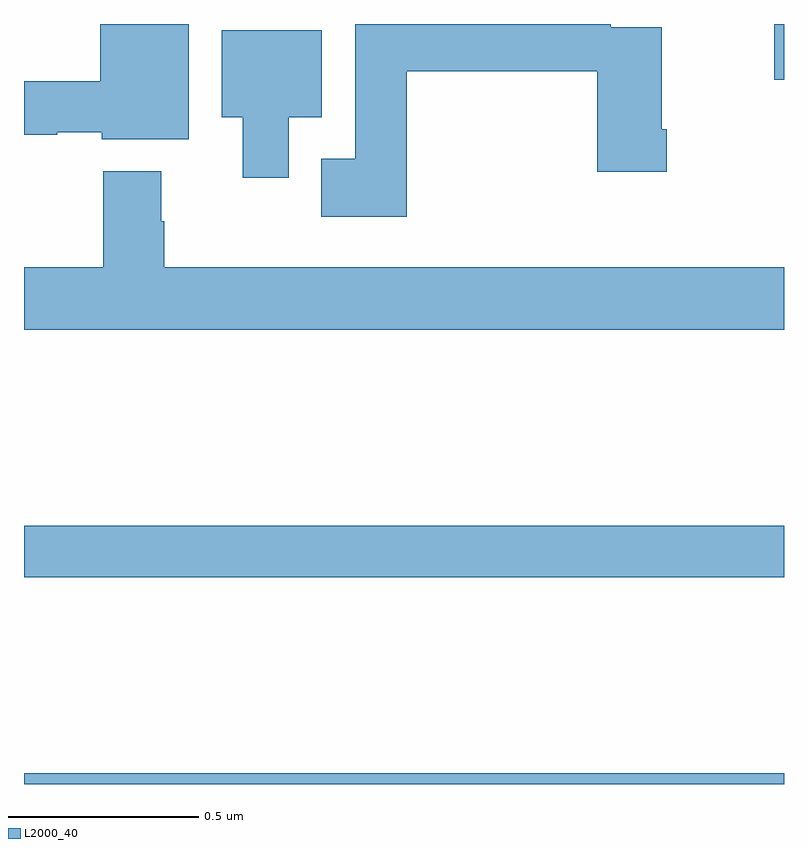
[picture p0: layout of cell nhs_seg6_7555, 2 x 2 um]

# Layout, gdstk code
import gdstk
lib = gdstk.Library(unit=1e-6, precision=1e-09)
def R(c, l, rs):  # rectangles x0, y0, x1, y1
    for r in rs: c.add(gdstk.rectangle(r[:2], r[2:], *l))
def P(c, l, *ps):  # polygons
    for p in ps: c.add(gdstk.Polygon(p, *l))
L2000_40 = (2000, 40)

nhs_seg6_7555 = lib.new_cell('nhs_seg6_7555')
R(nhs_seg6_7555, L2000_40, [(210,919.5,212,919.528), (210,920.044,212,920.18), (211.974,921.353,212,921.5)])
P(nhs_seg6_7555, L2000_40, [(211.007,921.376),(211.508,921.376),(211.508,921.111),(211.691,921.111),(211.691,921.223),(211.678,921.223),(211.678,921.492),(211.544,921.492),(211.544,921.5),(210.872,921.5),(210.872,921.145),(210.782,921.145),(210.782,920.993),(211.007,920.993)],
  [(210.433,921.5),(210.2,921.5),(210.2,921.35),(210,921.35),(210,921.208),(210.087,921.208),(210.087,921.215),(210.204,921.215),(210.204,921.197),(210.433,921.197)],
  [(210.697,921.254),(210.784,921.254),(210.784,921.484),(210.521,921.484),(210.521,921.254),(210.575,921.254),(210.575,921.096),(210.697,921.096)],
  [(212,920.86),(210.369,920.86),(210.369,920.981),(210.361,920.981),(210.361,921.112),(210.209,921.112),(210.209,920.86),(210,920.86),(210,920.696),(212,920.696)])

lib.write_gds('nhs_seg6_7555.gds')
